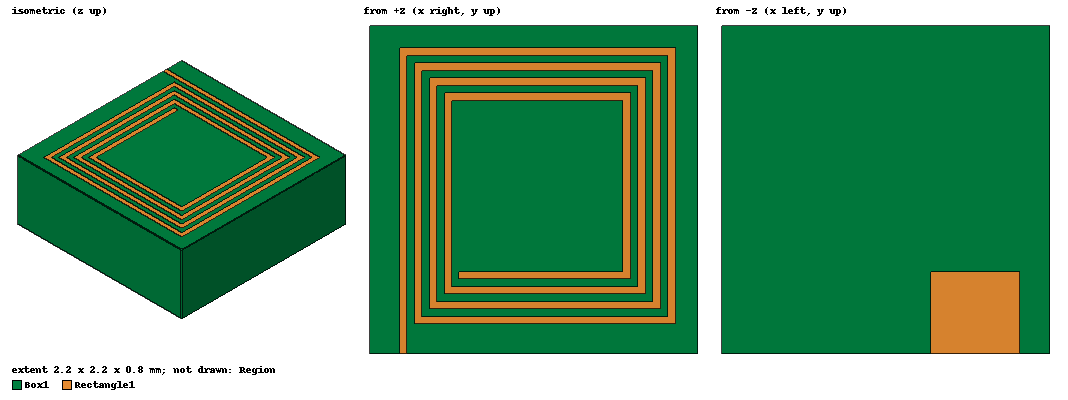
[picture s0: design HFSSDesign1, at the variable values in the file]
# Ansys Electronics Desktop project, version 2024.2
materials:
  vacuum: permittivity=1
  FR4_epoxy: permittivity=4.4 dielectric_loss_tangent=0.02
  air: permittivity=1.0006 permeability=1.0000004

design HFSSDesign1 (HFSS, HFSS Terminal Network, model units mm)
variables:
  w = 0.05mm
  Dout = 1.85mm
  s = 0.05mm
  st = 0.8mm
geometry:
  Rectangle1 = rectangle(corner=(0mm, 0mm, 0mm), x_size=w, y_size=Dout)
  Rectangle2 = rectangle(corner=(0mm, 1.85mm, 0mm), x_size=Dout, y_size=-0.05mm)
  Rectangle3 = rectangle(corner=(1.85mm, 1.85mm, 0mm), x_size=-0.05mm, y_size=-Dout)
  Rectangle5 = rectangle(corner=(0.1mm, 0mm, 0mm), x_size=1.7mm, y_size=w)
  Rectangle1.unite(Rectangle2, Rectangle3, Rectangle5)
  Box1 [FR4_epoxy] = box(corner=(-0.2mm, -0.2mm, 0mm), size=(2.2mm, 2.2mm, -st))
  Rectangle7 = rectangle(corner=(0.1mm, 0.05mm, 0mm), x_size=0.04mm, y_size=-0.05mm)
  Rectangle1.subtract(Rectangle7)
  Region [air] = region(percentage_offset=34.538 on all sides)
  Rectangle9 = rectangle(corner=(0.1mm, 0mm, 0mm), x_size=0.04mm, y_size=0.05mm)
  Rectangle10 = rectangle(corner=(0.1mm, 0.05mm, 0mm), x_size=w, y_size=1.7mm)
  Rectangle11 = rectangle(corner=(0.15mm, 1.7mm, 0mm), x_size=1.6mm, y_size=0.05mm)
  Rectangle12 = rectangle(corner=(1.75mm, 1.75mm, 0mm), x_size=-0.05mm, y_size=-1.65mm)
  Rectangle13 = rectangle(corner=(1.75mm, 0.1mm, 0mm), x_size=-1.55mm, y_size=0.05mm)
  Rectangle14 = rectangle(corner=(0.2mm, 0.1mm, 0mm), x_size=0.05mm, y_size=1.55mm)
  Rectangle15 = rectangle(corner=(0.2mm, 1.6mm, 0mm), x_size=1.45mm, y_size=0.05mm)
  Rectangle16 = rectangle(corner=(1.6mm, 1.65mm, 0mm), x_size=0.05mm, y_size=-1.45mm)
  Rectangle17 = rectangle(corner=(1.65mm, 0.25mm, 0mm), x_size=-1.35mm, y_size=-0.05mm)
  Rectangle18 = rectangle(corner=(0.3mm, 0.2mm, 0mm), x_size=0.05mm, y_size=1.35mm)
  Rectangle19 = rectangle(corner=(0.3mm, 1.5mm, 0mm), x_size=1.25mm, y_size=0.05mm)
  Rectangle20 = rectangle(corner=(1.5mm, 1.55mm, 0mm), x_size=0.05mm, y_size=-1.25mm)
  Rectangle21 = rectangle(corner=(1.55mm, 0.35mm, 0mm), x_size=-1.15mm, y_size=-0.05mm)
  Rectangle9.unite(Rectangle10..Rectangle21)
  Rectangle1.unite(Rectangle9)
  Rectangle22 = rectangle(corner=(0mm, -0.2mm, 0mm), x_size=0.05mm, y_size=0.2mm)
  Rectangle23 = rectangle(corner=(0mm, -0.2mm, 0mm), z_size=-0.8mm, x_size=0.05mm)
  Rectangle22.unite(Rectangle23)
  Rectangle24 = rectangle(corner=(0.4mm, 0.35mm, 0mm), z_size=-0.8mm, x_size=w)
  Rectangle25 = rectangle(corner=(0mm, -0.2mm, -0.8mm), x_size=0.6mm, y_size=0.55mm)
  Rectangle26 = rectangle(corner=(0mm, -0.2mm, 0mm), x_size=0.05mm, y_size=0.2mm)
  Rectangle22.subtract(Rectangle26)
  Rectangle27 = rectangle(corner=(0mm, -0.2mm, 0mm), x_size=0.05mm, y_size=0.2mm)
  Rectangle1.unite(Rectangle27)
  Rectangle24.unite(Rectangle25)
  Rectangle1.unite(Rectangle24)
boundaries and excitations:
  PerfE1: Perfect E Objects=Rectangle1
  Rad1: Radiation Objects=Region
  1: Lumped Port Objects=Rectangle22 LumpedPortType=Modal Modes{Mode1{IntLine{(0.025, -0.2, -0.8) -> (0.025, -0.2, 0)} CharImp=Zpi RenormImp=50ohm}} Impedance=50ohm
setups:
  Setup1: HfssDriven Frequency=0.868GHz MaxDeltaS=0.02 MaximumPasses=20 MinimumPasses=1 MinimumConvergedPasses=1 PercentRefinement=30 BasisOrder=1 PortAccuracy=2 DrivenSolverType="Direct Solver"
    sweep Sweep: 0.434GHz to 2.604GHz, 401 points; Type=Interpolating SaveFields InterpTolerance=0.5 InterpMaxSolns=250 PassivityErrorTolerance=0.0001
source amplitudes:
  1:1: 1V 0deg
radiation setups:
  Infinite Sphere1: Infinite Sphere Theta=0deg..360deg step 2deg Phi=-180deg..180deg step 2deg
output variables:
  L1 = -1*10^9/(2*3.14*868000000*im(Yt(1,1)))
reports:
  Terminal Y Parameter: dB(Yt(1,1)) vs Freq on Setup1 : Sweep [w=all Dout=all s=all st=all]
  Terminal Y Parameter1: dB(Yt(1,1)) vs Pass on Setup1 : AdaptivePass [Freq=all w=all Dout=all s=all st=all]
  Output Variables Plot 1: L1 vs Freq on Setup1 : Sweep [w=all Dout=all s=all st=all]; markers MX1 at x=8.6829609e+08
